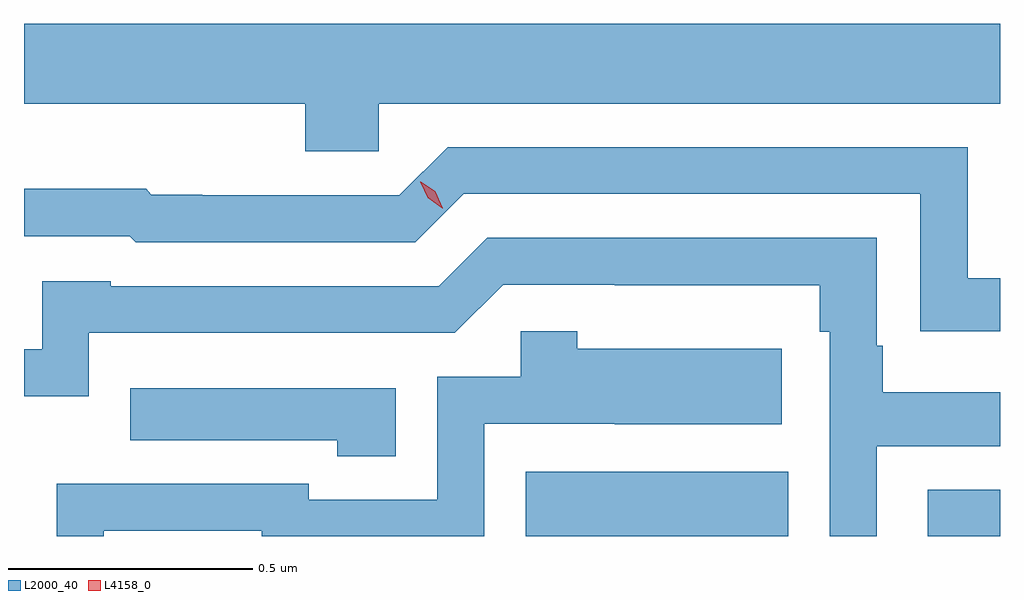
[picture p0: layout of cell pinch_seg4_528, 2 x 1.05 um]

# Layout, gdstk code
import gdstk
lib = gdstk.Library(unit=1e-6, precision=1e-09)
def R(c, l, rs):  # rectangles x0, y0, x1, y1
    for r in rs: c.add(gdstk.rectangle(r[:2], r[2:], *l))
def P(c, l, *ps):  # polygons
    for p in ps: c.add(gdstk.Polygon(p, *l))
L2000_40 = (2000, 40)
L4158_0 = (4158, 0)

pinch_seg4_528 = lib.new_cell('pinch_seg4_528')
R(pinch_seg4_528, L2000_40, [(1005.799,755.973,1006.337,756.106), (1006.623,755.973,1006.771,756.069)])
P(pinch_seg4_528, L2000_40, [(1005.498,756.86),(1006.771,756.86),(1006.771,757.024),(1004.771,757.024),(1004.771,756.86),(1005.347,756.86),(1005.347,756.762),(1005.498,756.762)],
  [(1006.771,756.502),(1006.705,756.502),(1006.705,756.771),(1005.639,756.771),(1005.54,756.672),(1005.136,756.672),(1005.136,756.673),(1005.032,756.673),(1005.021,756.685),(1004.771,756.685),(1004.771,756.588),(1004.988,756.588),(1005,756.576),(1005.573,756.576),(1005.672,756.675),(1006.608,756.675),(1006.608,756.393),(1006.771,756.393)],
  [(1006.518,756.158),(1006.771,756.158),(1006.771,756.268),(1006.531,756.268),(1006.531,756.364),(1006.518,756.364),(1006.518,756.585),(1005.72,756.585),(1005.621,756.486),(1004.949,756.486),(1004.949,756.496),(1004.808,756.496),(1004.808,756.357),(1004.771,756.357),(1004.771,756.26),(1004.904,756.26),(1004.904,756.39),(1005.654,756.39),(1005.753,756.489),(1005.982,756.489),(1005.982,756.488),(1006.402,756.488),(1006.402,756.392),(1006.422,756.392),(1006.422,755.973),(1006.518,755.973)],
  [(1004.934,755.985),(1005.258,755.985),(1005.258,755.973),(1005.714,755.973),(1005.714,756.204),(1005.982,756.204),(1005.982,756.203),(1006.324,756.203),(1006.324,756.358),(1005.905,756.358),(1005.905,756.393),(1005.789,756.393),(1005.789,756.3),(1005.618,756.3),(1005.618,756.048),(1005.354,756.048),(1005.354,756.081),(1004.838,756.081),(1004.838,755.973),(1004.934,755.973)],
  [(1005.533,756.277),(1004.989,756.277),(1004.989,756.17),(1005.413,756.17),(1005.413,756.137),(1005.533,756.137)])
P(pinch_seg4_528, L4158_0, [(1005.628,756.646),(1005.598,756.667),(1005.583,756.7),(1005.583,756.7),(1005.584,756.7),(1005.614,756.68),(1005.629,756.646),(1005.629,756.646)])

lib.write_gds('pinch_seg4_528.gds')
